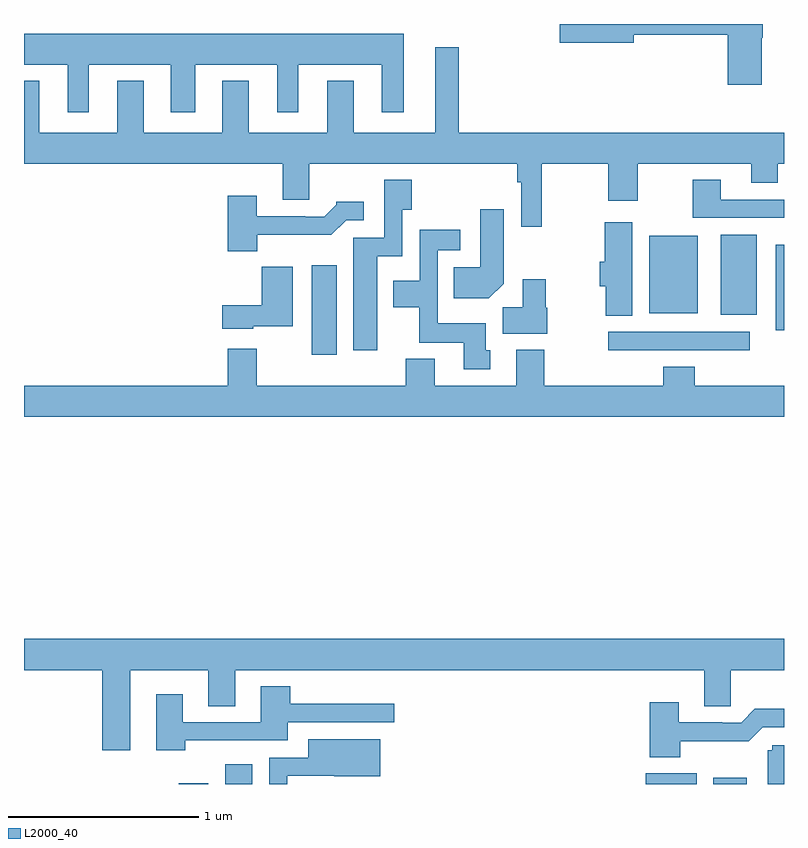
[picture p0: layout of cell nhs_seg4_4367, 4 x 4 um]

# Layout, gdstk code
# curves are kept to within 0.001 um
import gdstk
lib = gdstk.Library(unit=1e-6, precision=1e-09)
def R(c, l, rs):  # rectangles x0, y0, x1, y1
    for r in rs: c.add(gdstk.rectangle(r[:2], r[2:], *l))
def P(c, l, *ps):  # polygons
    for p in ps: c.add(gdstk.Polygon(p, *l))
L2000_40 = (2000, 40)

nhs_seg4_4367 = lib.new_cell('nhs_seg4_4367')
R(nhs_seg4_4367, L2000_40, [(345.815,782.9,345.97,782.905), (346.058,782.9,346.201,783.004), (348.272,782.9,348.542,782.956), (348.627,782.9,348.805,782.932), (346.514,785.16,346.645,785.629), (348.075,785.184,348.82,785.28), (348.956,785.289,349,785.737), (348.668,785.369,348.856,785.791), (348.29,785.378,348.547,785.785)])
P(nhs_seg4_4367, L2000_40, [(348.882,786.827),(348.887,786.827),(348.887,786.9),(347.82,786.9),(347.82,786.802),(348.208,786.802),(348.208,786.844),(348.704,786.844),(348.704,786.579),(348.882,786.579)],
  [(345.34,786.686),(345.773,786.686),(345.773,786.435),(345.901,786.435),(345.901,786.686),(346.334,786.686),(346.334,786.435),(346.444,786.435),(346.444,786.686),(346.883,786.686),(346.883,786.435),(346.999,786.435),(346.999,786.85),(345,786.85),(345,786.686),(345.23,786.686),(345.23,786.435),(345.34,786.435)],
  [(346.595,786.601),(346.595,786.328),(346.183,786.328),(346.183,786.601),(346.043,786.601),(346.043,786.328),(345.631,786.328),(345.631,786.601),(345.491,786.601),(345.491,786.328),(345.079,786.328),(345.079,786.601),(345,786.601),(345,786.164),(346.361,786.164),(346.361,785.974),(346.501,785.974),(346.501,786.164),(347.596,786.164),(347.596,786.068),(347.616,786.068),(347.616,785.832),(347.725,785.832),(347.725,786.164),(348.076,786.164),(348.076,785.97),(348.231,785.97),(348.231,786.164),(348.827,786.164),(348.827,786.065),(348.967,786.065),(348.967,786.164),(349,786.164),(349,786.328),(347.287,786.328),(347.287,786.778),(347.165,786.778),(347.165,786.328),(346.735,786.328),(346.735,786.601)],
  [(349,785.976),(348.667,785.976),(348.667,786.079),(348.52,786.079),(348.52,785.88),(349,785.88)],
  [(346.858,785.678),(346.992,785.678),(346.992,785.923),(347.04,785.923),(347.04,786.079),(346.896,786.079),(346.896,785.775),(346.733,785.775),(346.733,785.184),(346.858,785.184)],
  [(346.228,785.79),(346.617,785.79),(346.695,785.868),(346.789,785.868),(346.789,785.965),(346.644,785.965),(346.644,785.95),(346.58,785.886),(346.481,785.886),(346.481,785.889),(346.225,785.889),(346.225,785.995),(346.073,785.995),(346.073,785.705),(346.228,785.705)],
  [(347.524,785.534),(347.524,785.926),(347.402,785.926),(347.402,785.62),(347.263,785.62),(347.263,785.456),(347.446,785.456)],
  [(348.202,785.857),(348.056,785.857),(348.056,785.649),(348.029,785.649),(348.029,785.519),(348.061,785.519),(348.061,785.365),(348.202,785.365)],
  [(347.455,785.184),(347.431,785.184),(347.431,785.326),(347.178,785.326),(347.178,785.709),(347.296,785.709),(347.296,785.818),(347.082,785.818),(347.082,785.548),(346.943,785.548),(346.943,785.408),(347.08,785.408),(347.08,785.222),(347.315,785.222),(347.315,785.082),(347.455,785.082)],
  [(346.206,785.309),(346.414,785.309),(346.414,785.623),(346.252,785.623),(346.252,785.419),(346.044,785.419),(346.044,785.297),(346.206,785.297)],
  [(347.754,785.406),(347.746,785.406),(347.746,785.557),(347.624,785.557),(347.624,785.408),(347.519,785.408),(347.519,785.27),(347.754,785.27)],
  [(349,784.996),(348.53,784.996),(348.53,785.095),(348.365,785.095),(348.365,784.996),(347.739,784.996),(347.739,785.185),(347.591,785.185),(347.591,784.996),(347.161,784.996),(347.161,785.137),(347.009,785.137),(347.009,784.996),(346.225,784.996),(346.225,785.191),(346.073,785.191),(346.073,784.996),(345,784.996),(345,784.832),(349,784.832)],
  [(345.559,783.5),(345.971,783.5),(345.971,783.31),(346.111,783.31),(346.111,783.5),(348.581,783.5),(348.581,783.31),(348.72,783.31),(348.72,783.5),(349,783.5),(349,783.664),(345,783.664),(345,783.5),(345.412,783.5),(345.412,783.078),(345.559,783.078)],
  [(345.848,783.129),(346.387,783.129),(346.387,783.225),(346.948,783.225),(346.948,783.322),(346.4,783.322),(346.4,783.415),(346.247,783.415),(346.247,783.225),(345.835,783.225),(345.835,783.373),(345.695,783.373),(345.695,783.078),(345.848,783.078)],
  [(348.453,783.126),(348.815,783.125),(348.888,783.198),(349,783.198),(349,783.295),(348.847,783.295),(348.774,783.222),(348.674,783.222),(348.674,783.225),(348.445,783.225),(348.445,783.331),(348.293,783.331),(348.293,783.041),(348.453,783.041)],
  [(346.386,782.943),(346.632,782.943),(346.632,782.942),(346.876,782.942),(346.876,783.136),(346.496,783.136),(346.496,783.039),(346.29,783.039),(346.29,782.9),(346.386,782.9)],
  [(349,783.105),(348.939,783.105),(348.939,783.078),(348.914,783.078),(348.914,782.9),(349,782.9)])

lib.write_gds('nhs_seg4_4367.gds')
